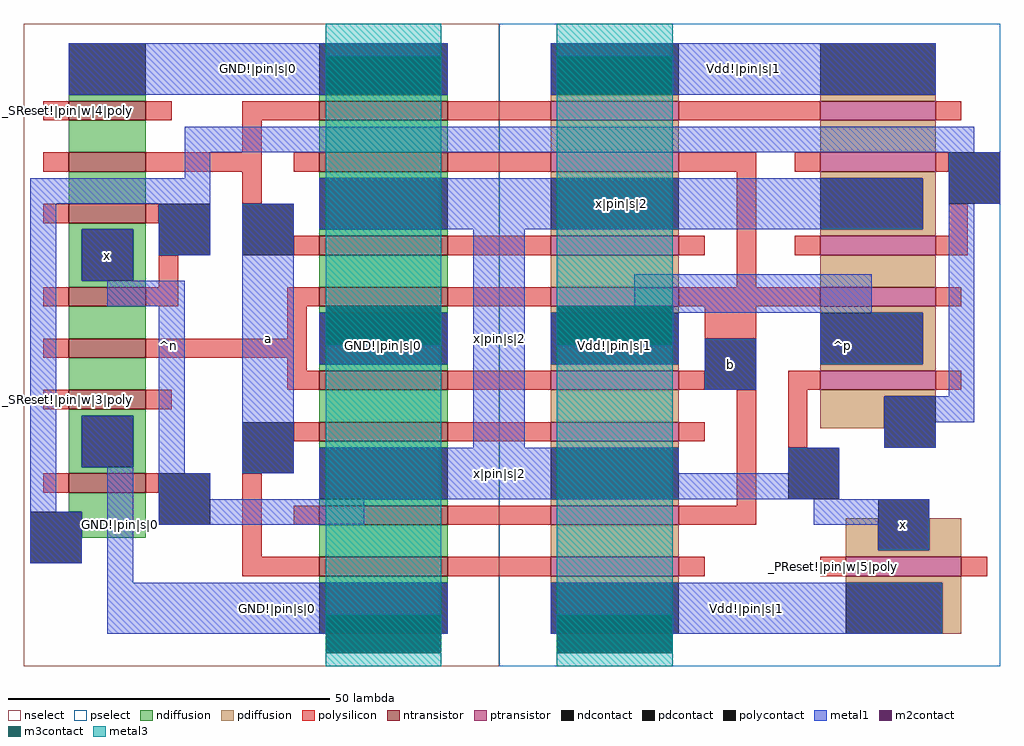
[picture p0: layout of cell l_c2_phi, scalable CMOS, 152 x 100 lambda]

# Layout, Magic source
magic
tech scmos
<< nselect >>
rect -74 40 0 140
<< pselect >>
rect 0 40 78 140
<< ndiffusion >>
rect -67 128 -55 129
rect -28 128 -8 129
rect -67 120 -55 125
rect -28 120 -8 125
rect -67 112 -55 117
rect -28 116 -8 117
rect -67 108 -55 109
rect -67 100 -65 108
rect -57 100 -55 108
rect -67 99 -55 100
rect -28 107 -8 108
rect -28 99 -8 104
rect -67 91 -55 96
rect -67 83 -55 88
rect -28 95 -8 96
rect -28 86 -8 87
rect -67 79 -55 80
rect -67 71 -65 79
rect -57 71 -55 79
rect -28 78 -8 83
rect -67 70 -55 71
rect -28 74 -8 75
rect -67 64 -55 67
rect -65 60 -55 64
rect -28 65 -8 66
rect -28 57 -8 62
rect -28 53 -8 54
<< pdiffusion >>
rect 8 128 28 129
rect 50 128 68 129
rect 8 120 28 125
rect 50 120 68 125
rect 8 116 28 117
rect 8 107 28 108
rect 8 99 28 104
rect 50 116 68 117
rect 66 108 68 116
rect 50 107 68 108
rect 50 99 68 104
rect 8 95 28 96
rect 8 86 28 87
rect 50 95 68 96
rect 66 87 68 95
rect 50 86 68 87
rect 8 78 28 83
rect 8 74 28 75
rect 8 65 28 66
rect 50 82 68 83
rect 50 77 60 82
rect 8 57 28 62
rect 54 58 59 63
rect 67 58 72 63
rect 54 57 72 58
rect 8 53 28 54
rect 54 53 72 54
rect 69 45 72 53
<< ntransistor >>
rect -67 125 -55 128
rect -28 125 -8 128
rect -67 117 -55 120
rect -28 117 -8 120
rect -67 109 -55 112
rect -28 104 -8 107
rect -67 96 -55 99
rect -28 96 -8 99
rect -67 88 -55 91
rect -28 83 -8 86
rect -67 80 -55 83
rect -28 75 -8 78
rect -67 67 -55 70
rect -28 62 -8 65
rect -28 54 -8 57
<< ptransistor >>
rect 8 125 28 128
rect 50 125 68 128
rect 8 117 28 120
rect 50 117 68 120
rect 8 104 28 107
rect 50 104 68 107
rect 8 96 28 99
rect 50 96 68 99
rect 8 83 28 86
rect 8 75 28 78
rect 50 83 68 86
rect 8 62 28 65
rect 8 54 28 57
rect 54 54 72 57
<< polysilicon >>
rect -71 125 -67 128
rect -55 125 -51 128
rect -40 125 -28 128
rect -8 125 8 128
rect 28 125 50 128
rect 68 125 72 128
rect -40 120 -37 125
rect -71 117 -67 120
rect -55 117 -37 120
rect -32 117 -28 120
rect -8 117 8 120
rect 28 117 40 120
rect 46 117 50 120
rect 68 117 70 120
rect -40 112 -37 117
rect -71 109 -67 112
rect -55 109 -53 112
rect -32 104 -28 107
rect -8 104 8 107
rect 28 104 32 107
rect -53 99 -50 104
rect 37 99 40 117
rect 70 107 73 112
rect 46 104 50 107
rect 68 104 73 107
rect -71 96 -67 99
rect -55 96 -50 99
rect -33 96 -28 99
rect -8 96 8 99
rect 28 96 50 99
rect 68 96 72 99
rect -33 91 -30 96
rect -71 88 -67 91
rect -55 88 -30 91
rect -33 86 -30 88
rect 32 91 40 96
rect -33 83 -28 86
rect -8 83 8 86
rect 28 83 32 86
rect -71 80 -67 83
rect -55 80 -51 83
rect -32 75 -28 78
rect -8 75 8 78
rect 28 75 32 78
rect -71 67 -67 70
rect -55 67 -53 70
rect -40 57 -37 70
rect 37 65 40 83
rect 45 83 50 86
rect 68 83 72 86
rect 45 74 48 83
rect -32 62 -28 65
rect -8 62 8 65
rect 28 62 40 65
rect -40 54 -28 57
rect -8 54 8 57
rect 28 54 32 57
rect 50 54 54 57
rect 72 54 76 57
<< ndcontact >>
rect -67 129 -55 137
rect -28 129 -8 137
rect -65 100 -57 108
rect -28 108 -8 116
rect -28 87 -8 95
rect -65 71 -57 79
rect -73 56 -65 64
rect -28 66 -8 74
rect -28 45 -8 53
<< pdcontact >>
rect 8 129 28 137
rect 50 129 68 137
rect 8 108 28 116
rect 50 108 66 116
rect 8 87 28 95
rect 50 87 66 95
rect 8 66 28 74
rect 60 74 68 82
rect 59 58 67 66
rect 8 45 28 53
rect 54 45 69 53
<< polycontact >>
rect -53 104 -45 112
rect -40 104 -32 112
rect 70 112 78 120
rect 32 83 40 91
rect -40 70 -32 78
rect -53 62 -45 70
rect 45 66 53 74
<< metal1 >>
rect -67 135 -8 137
rect -67 129 -27 135
rect -9 129 -8 135
rect 8 135 68 137
rect 8 129 9 135
rect 27 129 68 135
rect -49 120 74 124
rect -49 116 -45 120
rect -73 112 -45 116
rect -73 64 -69 112
rect -65 100 -57 108
rect -53 104 -45 112
rect -61 96 -49 100
rect -65 71 -57 79
rect -73 56 -65 64
rect -61 53 -57 71
rect -53 70 -49 96
rect -40 70 -32 112
rect -28 108 66 116
rect 70 112 78 120
rect -28 90 -27 95
rect -9 90 -8 95
rect -28 87 -8 90
rect -4 74 4 108
rect 21 96 58 101
rect 8 90 9 95
rect 27 95 58 96
rect 27 90 28 95
rect 8 87 28 90
rect 32 83 40 91
rect 50 87 66 95
rect 70 82 74 112
rect 60 78 74 82
rect 60 74 68 78
rect -28 70 28 74
rect 45 70 53 74
rect -53 66 -45 70
rect -28 66 53 70
rect -53 62 -21 66
rect 49 62 67 66
rect 59 58 67 62
rect -61 48 -8 53
rect -61 45 -27 48
rect -9 45 -8 48
rect 8 48 69 53
rect 8 45 9 48
rect 27 45 69 48
<< m2contact >>
rect -27 129 -9 135
rect 9 129 27 135
rect -27 90 -9 96
rect 9 90 27 96
rect -27 42 -9 48
rect 9 42 27 48
<< m3contact >>
rect -27 129 -9 135
rect 9 129 27 135
rect -27 90 -9 96
rect 9 90 27 96
rect -27 42 -9 48
rect 9 42 27 48
<< metal3 >>
rect -27 40 -9 140
rect 9 40 27 140
<< labels >>
rlabel metal1 -61 104 -61 104 1 x
rlabel metal1 -40 70 -32 112 1 a
rlabel metal1 63 62 63 62 1 x
rlabel metal1 32 83 40 91 1 b
rlabel space -75 40 -28 140 7 ^n
rlabel space 28 40 79 140 3 ^p
rlabel metal3 -27 40 -9 140 1 GND!|pin|s|0
rlabel metal3 9 40 27 140 1 Vdd!|pin|s|1
rlabel metal1 -67 129 -8 137 1 GND!|pin|s|0
rlabel metal1 -61 45 -8 53 1 GND!|pin|s|0
rlabel metal1 -61 45 -57 79 1 GND!|pin|s|0
rlabel metal1 8 129 68 137 1 Vdd!|pin|s|1
rlabel metal1 50 87 66 95 1 Vdd!|pin|s|1
rlabel metal1 8 45 69 53 1 Vdd!|pin|s|1
rlabel metal1 -4 66 4 116 1 x|pin|s|2
rlabel metal1 -28 66 28 74 1 x|pin|s|2
rlabel metal1 -28 108 66 116 1 x|pin|s|2
rlabel polysilicon -71 80 -67 83 1 _SReset!|pin|w|3|poly
rlabel polysilicon -71 125 -67 128 1 _SReset!|pin|w|4|poly
rlabel polysilicon -55 125 -51 128 1 _SReset!|pin|w|4|poly
rlabel polysilicon 50 54 54 57 1 _PReset!|pin|w|5|poly
rlabel polysilicon 72 54 76 57 1 _PReset!|pin|w|5|poly
<< end >>
